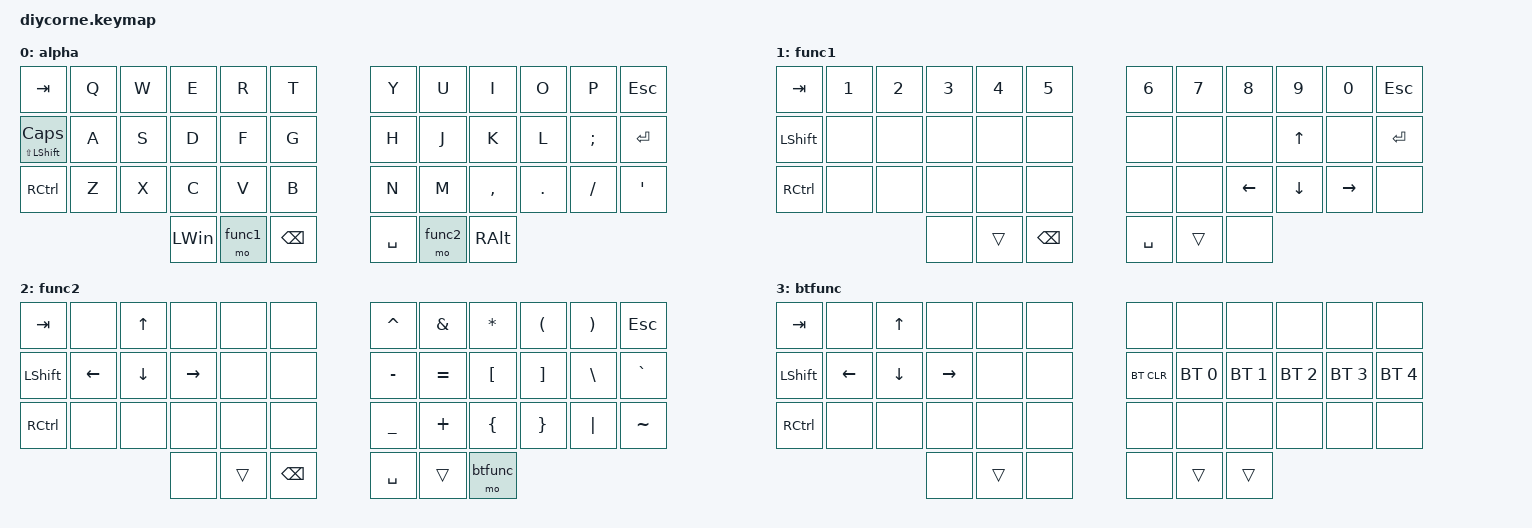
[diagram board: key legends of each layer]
/*
 * Copyright (c) 2020 The ZMK Contributors
 *
 * SPDX-License-Identifier: MIT
 */

#include <behaviors.dtsi>
#include <dt-bindings/zmk/bt.h>
#include <dt-bindings/zmk/keys.h>

#define alpha     0
#define func1     1
#define func2     2
#define btfunc    3

/ {
    behaviors {
        tap_hold: tap_hold {
            compatible = "zmk,behavior-hold-tap";
            label = "TAP_HOLD";
            bindings = <&kp>, <&kp>;

            #binding-cells = <2>;
            tapping-term-ms = <190>;
            flavor = "balanced";
        };
    };

    keymap {
        compatible = "zmk,keymap";

        alpha {
            bindings = <
&kp TAB                       &kp Q     &kp W  &kp E     &kp R      &kp T       &kp Y      &kp U      &kp I      &kp O    &kp P     &kp ESC
&tap_hold LS(LSHFT) CAPSLOCK  &kp A     &kp S  &kp D     &kp F      &kp G       &kp H      &kp J      &kp K      &kp L    &kp SEMI  &kp ENTER
&kp RCTRL                     &kp Z     &kp X  &kp C     &kp V      &kp B       &kp N      &kp M      &kp COMMA  &kp DOT  &kp FSLH  &kp SQT
                                               &kp LWIN  &mo func1  &kp BSPC    &kp SPACE  &mo func2  &kp RALT
            >;
        };

        func1 {
            bindings = <
&kp TAB     &kp N1   &kp N2   &kp N3     &kp N4  &kp N5      &kp N6     &kp N7    &kp N8    &kp N9    &kp N0     &kp ESC
&kp LSHFT   &none    &none    &none      &none   &none       &none      &none     &none     &kp UP    &none      &kp ENTER
&kp RCTRL   &none    &none    &none      &none   &none       &none      &none     &kp LEFT  &kp DOWN  &kp RIGHT  &none
                              &none      &trans  &kp BSPC    &kp SPACE  &trans    &none
            >;
        };

        func2 {
            bindings = <
&kp TAB    &none     &kp UP    &none      &none   &none       &kp CARET  &kp AMPS   &kp ASTRK  &kp LPAR  &kp RPAR  &kp ESC
&kp LSHFT  &kp LEFT  &kp DOWN  &kp RIGHT  &none   &none       &kp MINUS  &kp EQUAL  &kp LBKT   &kp RBKT  &kp BSLH  &kp GRAVE
&kp RCTRL  &none     &none     &none      &none   &none       &kp UNDER  &kp PLUS   &kp LBRC   &kp RBRC  &kp PIPE  &kp TILDE
                               &none      &trans  &kp BSPC    &kp SPACE  &trans     &mo btfunc
            >;
        };

        btfunc {
            bindings = <
&kp TAB    &none     &kp UP    &none      &none   &none       &none   &none   &none   &none  &none   &none
&kp LSHFT  &kp LEFT  &kp DOWN  &kp RIGHT  &none   &none       &bt BT_CLR &bt BT_SEL 0  &bt BT_SEL 1  &bt BT_SEL 2  &bt BT_SEL 3  &bt BT_SEL 4
&kp RCTRL  &none     &none     &none      &none   &none       &none   &none   &none   &none  &none   &none
                               &none      &trans  &none       &none   &trans  &trans
            >;
        };
    };
};
